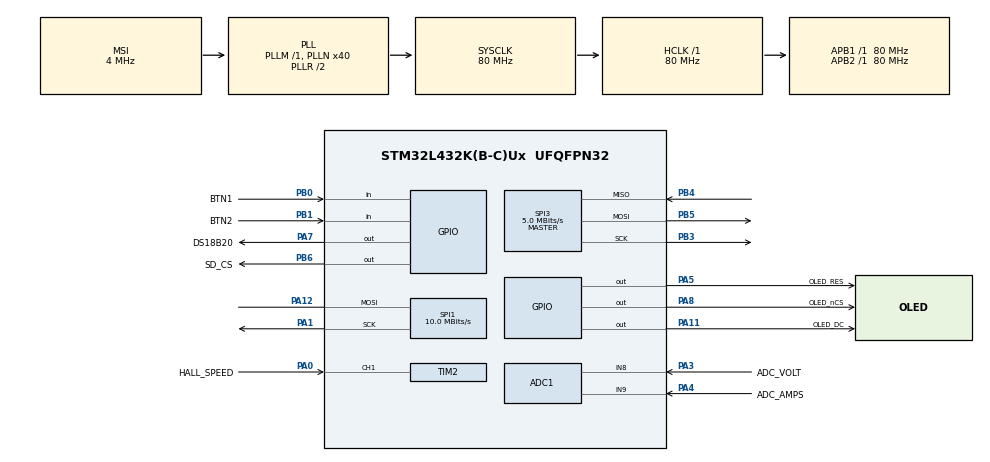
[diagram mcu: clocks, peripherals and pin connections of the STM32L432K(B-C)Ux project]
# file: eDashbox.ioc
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PA11.GPIO_Speed=GPIO_SPEED_FREQ_MEDIUM
Mcu.Family=STM32L4
FATFS._NORTC_MDAY=1
VP_SYS_VS_tim6.Mode=TIM6
RCC.CortexFreq_Value=80000000
SPI3.Direction=SPI_DIRECTION_2LINES
SPI3.VirtualType=VM_MASTER
TIM2.Channel-Input_Capture1_from_TI1=TIM_CHANNEL_1
FATFS._USE_LFN=3
SPI1.VirtualType=VM_MASTER
ADC1.Overrun=ADC_OVR_DATA_OVERWRITTEN
ADC1.ContinuousConvMode=DISABLE
NVIC.TIM6_DAC_IRQn=true\:0\:0\:false\:false\:true\:false\:false\:true
SPI3.NSSPMode=SPI_NSS_PULSE_DISABLE
PA0.GPIO_Label=HALL_SPEED
VP_RTC_VS_RTC_Activate.Mode=RTC_Enabled
PB0.GPIO_Label=BTN1
PB6.GPIO_Label=SD_CS
PA15\ (JTDI).Signal=USART2_RX
FATFS._NORTC_YEAR=2021
RCC.SYSCLKSource=RCC_SYSCLKSOURCE_PLLCLK
ProjectManager.StackSize=0x800
PB3\ (JTDO-TRACESWO).Signal=SPI3_SCK
VP_FREERTOS_VS_CMSIS_V2.Mode=CMSIS_V2
PA14\ (JTCK-SWCLK).Signal=SYS_JTCK-SWCLK
FREERTOS.configENABLE_FPU=0
PA12.Signal=SPI1_MOSI
TIM1.Prescaler=40
SPI1.CLKPolarity=SPI_POLARITY_LOW
TIM2.ICPolarity_CH1=TIM_INPUTCHANNELPOLARITY_FALLING
TIM2.ICPrescaler-Input_Capture1_from_TI1=TIM_ICPSC_DIV1
SPI1.Direction=SPI_DIRECTION_1LINE
PB1.GPIO_PuPd=GPIO_PULLDOWN
RCC.HCLKFreq_Value=80000000
RCC.APB2TimFreq_Value=80000000
PB6.Signal=GPIO_Output
Dma.ADC1.0.Direction=DMA_PERIPH_TO_MEMORY
SPI1.CalculateBaudRate=10.0 MBits/s
FREERTOS.configUSE_MALLOC_FAILED_HOOK=0
FREERTOS.configMINIMAL_STACK_SIZE=256
Dma.ADC1.0.MemDataAlignment=DMA_MDATAALIGN_WORD
FATFS._LFN_UNICODE=1
RCC.AHBFreq_Value=80000000
SPI3.DataSize=SPI_DATASIZE_8BIT
ADC1.Channel-0\#ChannelRegularConversion=ADC_CHANNEL_8
RCC.HSE_VALUE=8000000
RTC.Minutes=59
RCC.PLLMUL=RCC_PLLMUL_4
RTC.Month=RTC_MONTH_FEBRUARY
PB1.GPIO_Label=BTN2
Dma.ADC1.0.PeriphInc=DMA_PINC_DISABLE
PB5.Mode=Full_Duplex_Master
NVIC.TIM2_IRQn=true\:5\:0\:true\:true\:true\:1\:true\:true\:true
SPI1.DataSize=SPI_DATASIZE_8BIT
SH.ADCx_IN8.0=ADC1_IN8,IN8-Single-Ended
FATFS._NORTC_MON=1
PA8.Signal=GPIO_Output
VP_TIM1_VS_ClockSourceINT.Mode=Internal
ADC1.SamplingTime-0\#ChannelRegularConversion=ADC_SAMPLETIME_24CYCLES_5
FREERTOS.configTOTAL_HEAP_SIZE=8192
PA0.Signal=S_TIM2_CH1
Mcu.Package=UFQFPN32
TIM2.Prescaler=0
PB1.Signal=GPIO_Input
NVIC.TimeBase=TIM6_DAC_IRQn
SPI3.Mode=SPI_MODE_MASTER
PA2.GPIO_Label=VCP_TX
NVIC.TimeBaseIP=TIM6
VP_RTC_VS_RTC_Calendar.Mode=RTC_Calendar
ADC1.OffsetNumber-1\#ChannelRegularConversion=ADC_OFFSET_NONE
SH.ADCx_IN9.0=ADC1_IN9,IN9-Single-Ended
RCC.APB1TimFreq_Value=80000000
PA13\ (JTMS-SWDIO).Signal=SYS_JTMS-SWDIO
Dma.Request0=ADC1
SPI1.BaudRatePrescaler=SPI_BAUDRATEPRESCALER_8
PA4.GPIO_Label=ADC_AMPS
PA8.GPIO_Speed=GPIO_SPEED_FREQ_MEDIUM
RCC.HSI48_VALUE=48000000
RCC.PLLSAI1N=16
PA3.Signal=ADCx_IN8
RCC.MSI_VALUE=4000000
PA14\ (JTCK-SWCLK).Mode=Serial_Wire
SH.S_TIM2_CH1.0=TIM2_CH1,Input_Capture1_from_TI1
Dma.ADC1.0.Instance=DMA1_Channel1
FREERTOS.Tasks01=defaultTask,24,256,StartDefaultTask,Default,NULL,Dynamic,NULL,NULL
ADC1.Rank-0\#ChannelRegularConversion=1
ADC1.OffsetNumber-0\#ChannelRegularConversion=ADC_OFFSET_NONE
FREERTOS.configCHECK_FOR_STACK_OVERFLOW=1
PA11.GPIO_Label=OLED_DC
SPI1.CLKPhase=SPI_PHASE_1EDGE
PA14\ (JTCK-SWCLK).GPIO_Label=SWCLK
PA0.GPIO_Speed=GPIO_SPEED_FREQ_MEDIUM
RCC.HSI16_VALUE=16000000
Dma.ADC1.0.PeriphDataAlignment=DMA_PDATAALIGN_WORD
PA8.GPIO_Label=OLED_nCS
ProjectManager.TargetToolchain=Makefile
Dma.ADC1.0.Mode=DMA_CIRCULAR
FATFS._CODE_PAGE=866
Dma.ADC1.0.Priority=DMA_PRIORITY_LOW
ADC1.Channel-1\#ChannelRegularConversion=ADC_CHANNEL_9
RTC.Format=RTC_FORMAT_BIN
RCC.USBFreq_Value=32000000
RCC.LSE_VALUE=32768
PA1.Signal=SPI1_SCK
VP_FATFS_VS_Generic.Mode=User_defined
PA5.Signal=GPIO_Output
FATFS._STRF_ENCODE=3
board=NUCLEO-L432KC
RCC.VCOOutputFreq_Value=160000000
FATFS._FS_NORTC=1
RCC.APB2Freq_Value=80000000
PA1.Mode=Simplex_Bidirectional_Master
SPI3.CalculateBaudRate=5.0 MBits/s
PA13\ (JTMS-SWDIO).GPIO_Label=SWDIO
VP_TIM2_VS_ClockSourceINT.Mode=Internal
SPI1.Mode=SPI_MODE_MASTER
PB3\ (JTDO-TRACESWO).Mode=Full_Duplex_Master
RCC.ADCFreq_Value=32000000
SPI3.BaudRatePrescaler=SPI_BAUDRATEPRESCALER_16
TIM2.Period=80000
PB4\ (NJTRST).Mode=Full_Duplex_Master
ADC1.NbrOfConversion=2
PA15\ (JTDI).GPIO_Label=VCP_RX
Mcu.Name=STM32L432K(B-C)Ux
SPI1.NSSPMode=SPI_NSS_PULSE_DISABLE
PA2.Signal=USART2_TX
FATFS._MAX_SS=4096
PA13\ (JTMS-SWDIO).Mode=Serial_Wire
PA4.Signal=ADCx_IN9
ADC1.SamplingTime-1\#ChannelRegularConversion=ADC_SAMPLETIME_24CYCLES_5
RCC.SYSCLKFreq_VALUE=80000000
RTC.Hours=1
PB5.Signal=SPI3_MOSI
PA7.GPIO_Label=DS18B20
ADC1.master=1
PA12.Mode=Simplex_Bidirectional_Master
PA5.GPIO_Label=OLED_RES
ADC1.Rank-1\#ChannelRegularConversion=2
PA11.Signal=GPIO_Output
Dma.ADC1.0.MemInc=DMA_MINC_ENABLE
ProjectManager.HeapSize=0x400
RCC.HSI_VALUE=16000000
PA5.GPIO_Speed=GPIO_SPEED_FREQ_MEDIUM
NVIC.PriorityGroup=NVIC_PRIORITYGROUP_4
ADC1.NbrOfConversionFlag=1
RCC.PLLN=40
TIM2.AutoReloadPreload=TIM_AUTORELOAD_PRELOAD_ENABLE
NVIC.DMA1_Channel1_IRQn=true\:5\:0\:false\:false\:true\:true\:false\:true
PB6.GPIO_Speed=GPIO_SPEED_FREQ_MEDIUM
RTC.Seconds=30
RCC.APB1Freq_Value=80000000
PB0.Signal=GPIO_Input
RTC.Date=24
PB0.GPIO_PuPd=GPIO_PULLDOWN
PA3.GPIO_Label=ADC_VOLT
PA7.Signal=GPIO_Output
PB4\ (NJTRST).Signal=SPI3_MISO

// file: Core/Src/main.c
/* USER CODE BEGIN Header */
/**
  ******************************************************************************
  * @file           : main.c
  * @brief          : Main program body
  ******************************************************************************
  * @attention
  *
  * <h2><center>&copy; Copyright (c) 2021 STMicroelectronics.
  * All rights reserved.</center></h2>
  *
  * This software component is licensed by ST under BSD 3-Clause license,
  * the "License"; You may not use this file except in compliance with the
  * License. You may obtain a copy of the License at:
  *                        opensource.org/licenses/BSD-3-Clause
  *
  ******************************************************************************
  */
/* USER CODE END Header */
#include "main.h"
#include "cmsis_os.h"
#include "adc.h"
#include "dma.h"
#include "fatfs.h"
#include "rtc.h"
#include "spi.h"
#include "tim.h"
#include "gpio.h"

/* USER CODE BEGIN Includes */
/* <<<< System >>>> */
#include <string.h>
#include "stm32l4xx_hal.h"

/* https://github.com/mpaland/printf
   Tiny printf for embedded systems. Stdlib sprintf corrupts the stack if used
   inside of FreeRTOS vTask */
#include "printf.h"

//#include <stdio.h> // sprintf()
//#include "stdlib.h" // itoa(), gcvt()
//#include "string.h" // strcpy(), memset()

/* <<<< FreeRTOS >>>> */
#include "FreeRTOS.h"
#include <task.h>
#include <timers.h>

/* <<<< GUI >>>> */
#include "screens.h"
#include "settings.h"
/* USER CODE END Includes */

/* USER CODE BEGIN PV */
SensorsDataT Sensors;

static uint32_t gu32_SysTickFreq;
static uint32_t gu32_SysTickPrev;

static float gf_RpmFactor;
/* USER CODE END PV */

void SystemClock_Config(void);
void MX_FREERTOS_Init(void);
static void MX_NVIC_Init(void);

/* USER CODE BEGIN 0 */
void *malloc(size_t xBytes)
{
    return pvPortMalloc(xBytes);
}

void free(void *pvBuffer)
{
    vPortFree(pvBuffer);
}
/* USER CODE END 0 */

int main(void)
{
  /* USER CODE BEGIN 1 */
    // Must be read from Config.ini on MicroSD card or EEPROM
    Config.TempUnits = UnitsCelsius;
    Config.SpeedUnits = UnitsKph;
    Config.ShowLogo = true;
    Config.WheelCirc = 1285;
    Config.GearRatio = 6.0;
    Config.MaxRpm = 4500;
    Config.Screen1 = IdScreenMain;
    Config.BatLowV = 57.0;
    Config.BatHighV = 84.0;
    Config.HourFormat24 = true;
    Config.StandByTimeout = 15;

    Sensors.HallRpm = 0.0;
    Sensors.Volt = 0.0;
    Sensors.Ampere = 0.0;
    Sensors.Odo = 24589.7;
    memset(Sensors.Temperature, 0.0, sizeof(Sensors.Temperature));
  /* USER CODE END 1 */

  /* MCU Configuration--------------------------------------------------------*/

  /* Reset of all peripherals, Initializes the Flash interface and the Systick. */
  HAL_Init();

  /* Configure the system clock */
  SystemClock_Config();

  /* Initialize all configured peripherals */
  MX_GPIO_Init();
  MX_DMA_Init();
  MX_TIM2_Init();
  MX_SPI1_Init();
  MX_SPI3_Init();
  MX_ADC1_Init();
  MX_RTC_Init();
  MX_FATFS_Init();
  MX_TIM1_Init();

  /* Initialize interrupts */
  MX_NVIC_Init();
  /* USER CODE BEGIN 2 */
    /* Calibrate The ADC On Power-Up For Better Accuracy */
    HAL_ADCEx_Calibration_Start(&hadc1, ADC_SINGLE_ENDED);

    DS18B20_Init(DS18B20_Resolution_12bits);

    gu32_SysTickPrev = 0;
    /* This must be called _AFTER_ SystemClock_Config() for correct frequency value */
    gu32_SysTickFreq = osKernelGetSysTimerFreq();
    gf_RpmFactor = 60.0 * (float)gu32_SysTickFreq;
  /* USER CODE END 2 */

  /* Init scheduler */
  osKernelInitialize();  /* Call init function for freertos objects (in freertos.c) */
  MX_FREERTOS_Init();
  /* Start scheduler */
  osKernelStart();

  /* We should never get here as control is now taken by the scheduler */
  /* Infinite loop */
    for( ; ; )
    {

    /* USER CODE BEGIN 3 */
        continue;
    }
  /* USER CODE END 3 */
}

void SystemClock_Config(void)
{
  RCC_OscInitTypeDef RCC_OscInitStruct = {0};
  RCC_ClkInitTypeDef RCC_ClkInitStruct = {0};
  RCC_PeriphCLKInitTypeDef PeriphClkInit = {0};

  /** Initializes the RCC Oscillators according to the specified parameters
  * in the RCC_OscInitTypeDef structure.
  */
  RCC_OscInitStruct.OscillatorType = RCC_OSCILLATORTYPE_LSI|RCC_OSCILLATORTYPE_MSI;
  RCC_OscInitStruct.LSIState = RCC_LSI_ON;
  RCC_OscInitStruct.MSIState = RCC_MSI_ON;
  RCC_OscInitStruct.MSICalibrationValue = 0;
  RCC_OscInitStruct.MSIClockRange = RCC_MSIRANGE_6;
  RCC_OscInitStruct.PLL.PLLState = RCC_PLL_ON;
  RCC_OscInitStruct.PLL.PLLSource = RCC_PLLSOURCE_MSI;
  RCC_OscInitStruct.PLL.PLLM = 1;
  RCC_OscInitStruct.PLL.PLLN = 40;
  RCC_OscInitStruct.PLL.PLLP = RCC_PLLP_DIV7;
  RCC_OscInitStruct.PLL.PLLQ = RCC_PLLQ_DIV2;
  RCC_OscInitStruct.PLL.PLLR = RCC_PLLR_DIV2;
  if (HAL_RCC_OscConfig(&RCC_OscInitStruct) != HAL_OK)
  {
    Error_Handler();
  }
  /** Initializes the CPU, AHB and APB buses clocks
  */
  RCC_ClkInitStruct.ClockType = RCC_CLOCKTYPE_HCLK|RCC_CLOCKTYPE_SYSCLK
                              |RCC_CLOCKTYPE_PCLK1|RCC_CLOCKTYPE_PCLK2;
  RCC_ClkInitStruct.SYSCLKSource = RCC_SYSCLKSOURCE_PLLCLK;
  RCC_ClkInitStruct.AHBCLKDivider = RCC_SYSCLK_DIV1;
  RCC_ClkInitStruct.APB1CLKDivider = RCC_HCLK_DIV1;
  RCC_ClkInitStruct.APB2CLKDivider = RCC_HCLK_DIV1;

  if (HAL_RCC_ClockConfig(&RCC_ClkInitStruct, FLASH_LATENCY_4) != HAL_OK)
  {
    Error_Handler();
  }
  PeriphClkInit.PeriphClockSelection = RCC_PERIPHCLK_RTC|RCC_PERIPHCLK_ADC;
  PeriphClkInit.AdcClockSelection = RCC_ADCCLKSOURCE_PLLSAI1;
  PeriphClkInit.RTCClockSelection = RCC_RTCCLKSOURCE_LSI;
  PeriphClkInit.PLLSAI1.PLLSAI1Source = RCC_PLLSOURCE_MSI;
  PeriphClkInit.PLLSAI1.PLLSAI1M = 1;
  PeriphClkInit.PLLSAI1.PLLSAI1N = 16;
  PeriphClkInit.PLLSAI1.PLLSAI1P = RCC_PLLP_DIV7;
  PeriphClkInit.PLLSAI1.PLLSAI1Q = RCC_PLLQ_DIV2;
  PeriphClkInit.PLLSAI1.PLLSAI1R = RCC_PLLR_DIV2;
  PeriphClkInit.PLLSAI1.PLLSAI1ClockOut = RCC_PLLSAI1_ADC1CLK;
  if (HAL_RCCEx_PeriphCLKConfig(&PeriphClkInit) != HAL_OK)
  {
    Error_Handler();
  }
  /** Configure the main internal regulator output voltage
  */
  if (HAL_PWREx_ControlVoltageScaling(PWR_REGULATOR_VOLTAGE_SCALE1) != HAL_OK)
  {
    Error_Handler();
  }
}

/**
  * @brief NVIC Configuration.
  * @retval None
  */
static void MX_NVIC_Init(void)
{
  /* TIM2_IRQn interrupt configuration */
  HAL_NVIC_SetPriority(TIM2_IRQn, 5, 0);
  HAL_NVIC_EnableIRQ(TIM2_IRQn);
}

/* USER CODE BEGIN 4 */
/*
 * Callbacks for Interupts
 */
void HAL_TIM_IC_CaptureCallback(TIM_HandleTypeDef *htim)
{
    if(htim->Instance == TIM2)
    {
        uint32_t Tick = osKernelGetSysTimerCount();
        float Odo = (float)Config.WheelCirc / 1000000.0;

        if(!Config.HallOnWheel)
            { Odo /= Config.GearRatio; }

        Sensors.Odo = (Sensors.Odo < ODOMETER_MAX) ? (Sensors.Odo + Odo) : 0.0;
        Sensors.HallRpm = gf_RpmFactor / (float)(Tick - gu32_SysTickPrev);

        gu32_SysTickPrev = Tick;
    }
}
/* USER CODE END 4 */

 /**
  * @brief  Period elapsed callback in non blocking mode
  * @note   This function is called  when TIM6 interrupt took place, inside
  * HAL_TIM_IRQHandler(). It makes a direct call to HAL_IncTick() to increment
  * a global variable "uwTick" used as application time base.
  * @param  htim : TIM handle
  * @retval None
  */
void HAL_TIM_PeriodElapsedCallback(TIM_HandleTypeDef *htim)
{
  if (htim->Instance == TIM6) {
    HAL_IncTick();
  }
  /* USER CODE BEGIN Callback 1 */
    else if(htim->Instance == TIM2) {
        uint32_t Tick = osKernelGetSysTimerCount();

        /* Reset and idle if no input data */
        if(Sensors.HallRpm > 0.0
            && ((float)(Tick - gu32_SysTickPrev) / (float)gu32_SysTickFreq) > RPM_IDLE_TIME)
        {
            Sensors.HallRpm = 0.0;
        }
    }
  /* USER CODE END Callback 1 */
}

void Error_Handler(void)
{
  __disable_irq();
  while (1)
  {
  }
}

#ifdef  USE_FULL_ASSERT
/**
  * @brief  Reports the name of the source file and the source line number
  *         where the assert_param error has occurred.
  * @param  file: pointer to the source file name
  * @param  line: assert_param error line source number
  * @retval None
  */
void assert_failed(uint8_t *file, uint32_t line)
{
  /* USER CODE BEGIN 6 */
  /* User can add his own implementation to report the file name and line number,
     ex: printf("Wrong parameters value: file %s on line %d\r\n", file, line) */
    debug_printf("Assert failed at: %s line %u\n", file, line);
  /* USER CODE END 6 */
}
#endif /* USE_FULL_ASSERT */

/************************ (C) COPYRIGHT STMicroelectronics *****END OF FILE****/

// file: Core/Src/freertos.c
/* USER CODE BEGIN Header */
/**
  ******************************************************************************
  * File Name          : freertos.c
  * Description        : Code for freertos applications
  ******************************************************************************
  * @attention
  *
  * <h2><center>&copy; Copyright (c) 2021 STMicroelectronics.
  * All rights reserved.</center></h2>
  *
  * This software component is licensed by ST under Ultimate Liberty license
  * SLA0044, the "License"; You may not use this file except in compliance with
  * the License. You may obtain a copy of the License at:
  *                             www.st.com/SLA0044
  *
  ******************************************************************************
  */
/* USER CODE END Header */

#include "FreeRTOS.h"
#include "task.h"
#include "main.h"
#include "cmsis_os.h"

/* USER CODE BEGIN Includes */
//#include "cmsis_os2.h"
#include "tim.h"
#include "adc.h"
#include "stdbool.h"
#include "rtos.h"

#include "printf.h"
#include "ds18b20.h"

#include "screens.h"
#include "settings.h"
#include "bitmaps.h"

/* USER CODE END Includes */

/* USER CODE BEGIN PTD */
typedef struct
{
    BtnEventCallbackT Callback;
    void *Params;
} BtnEvtCallbackT;
/* USER CODE END PTD */

/* USER CODE BEGIN PD */
#define ADC_POLL_DELAY 250U
#define ADC_NCHANNELS 2
#define ADC_CHANNEL_VOLT 0
#define ADC_CHANNEL_AMPS 1
#define ADC_VREF 3.3
#define ADC_12BIT_MAX 4095U

#define MAIN_THREAD_DELAY 50U
#define DS18B20_POLL_DELAY 600U

#define BTN_POLL_DELAY 80U // debounce
#define BTN_LONGPRESS_TIME 1000U // hold at least this time before release
/* USER CODE END PD */

/* USER CODE BEGIN Variables */
static osThreadId_t TempPollTask;
static osThreadId_t AdcPollTask;
static osThreadId_t BtnPollTask;

/* Use static allocation as pointers are randomly being corrupted if
 * dynamic allocation is used without malloc()
 */
static BtnEvtCallbackT BtnCallbacks[NUM_BUTTONS][EvtButtonEmpty];
/* USER CODE END Variables */
/* Definitions for defaultTask */
osThreadId_t defaultTaskHandle;
const osThreadAttr_t defaultTask_attributes = {
  .name = "defaultTask",
  .priority = (osPriority_t) osPriorityNormal,
  .stack_size = 256 * 4
};

/* USER CODE BEGIN FunctionPrototypes */
__NO_RETURN static void TemperaturePoll(void *);
__NO_RETURN static void AdcPoll(void *);
__NO_RETURN static void ButtonsPoll(void *);
/* USER CODE END FunctionPrototypes */

void StartDefaultTask(void *argument);

void MX_FREERTOS_Init(void); /* (MISRA C 2004 rule 8.1) */

/* Hook prototypes */
void vApplicationStackOverflowHook(xTaskHandle xTask, signed char *pcTaskName);

/* USER CODE BEGIN 4 */
/* "Stack overflow checking introduces a context switch overhead so its use is only
 * recommended during the development or testing phases." Further reading:
 * https://www.freertos.org/Stacks-and-stack-overflow-checking.html
 */
void vApplicationStackOverflowHook(xTaskHandle xTask, signed char *pcTaskName)
{
   /* Run time stack overflow checking is performed if
   configCHECK_FOR_STACK_OVERFLOW is defined to 1 or 2. This hook function is
   called if a stack overflow is detected. */
   debug_printf("Stack overflow: %s\n", pcTaskName);
}
/* USER CODE END 4 */

void MX_FREERTOS_Init(void) {
  /* USER CODE BEGIN Init */
    for(uint8_t i = 0; i < NUM_BUTTONS; i++)
    {
        for(uint8_t j = 0; j < EvtButtonEmpty; j++)
        {
            BtnCallbacks[i][j] = (BtnEvtCallbackT){ NULL, NULL };
        }
    }
  /* USER CODE END Init */

  /* Create the thread(s) */
  /* creation of defaultTask */
  defaultTaskHandle = osThreadNew(StartDefaultTask, NULL, &defaultTask_attributes);

}

void StartDefaultTask(void *argument)
{
  /* USER CODE BEGIN StartDefaultTask */
    /* Hall sensor timer starts after scheduler as we use RTOS API from ISR.
     * Enable HAL_TIM_PeriodElapsedCallback() before HAL_TIM_IC_Start_IT()
     * as it's not activated by default. Further reading:
     * https://community.st.com/s/question/0D50X00009hpBdlSAE/timer3-update-event-interrupt-not-working-properly
     */
    __HAL_TIM_ENABLE_IT(&htim2, TIM_IT_UPDATE);
    HAL_TIM_IC_Start_IT(&htim2, TIM_CHANNEL_1);

    Screens_Init();

    if(Config.ShowLogo)
    {
        omGui_DrawBitmap(&oledUi, &AssetBitmaps.Logo, 4, 4, false, true);
        omGui_DrawBitmap(&oledUi, &AssetBitmaps.LogoText1, 69, 30, false, true);
        omGui_DrawBitmap(&oledUi, &AssetBitmaps.LogoText2, 92, 9, false, true);
        osDelay(1200);
    }

    Sensors.StandByTimeoutTick = osKernelGetTickCount();

    TempPollTask = appCreateTask(TemperaturePoll, NULL, TASK_NAME("TemperaturePoll"));
    AdcPollTask = appCreateTask(AdcPoll, NULL, TASK_NAME("AdcPoll"));
    BtnPollTask = appCreateTask(ButtonsPoll, NULL, TASK_NAME("ButtonsPoll"));

    omScreen_Select(uiScreens[
        (Config.Screen1 >= 0 && Config.Screen1 < 4) ? Config.Screen1 : IdScreenMain], NULL);

    do {
        omScreen_Update(&oledUi);

        // if(osKernelGetTickCount() - Sensors.TimeoutTick > Config.StandByTimeout * 60 * 1000)
        // {
        //     // StandBy mode on!
        // }
    } while(osDelay(MAIN_THREAD_DELAY) == osOK); // fixed fps

    debug_printf("Error: exiting main thread!\n");
    osThreadExit();
  /* USER CODE END StartDefaultTask */
}

/* USER CODE BEGIN Application */

/* (!) Increase FreeRTOS TOTAL_HEAP_SIZE if new task creation fails with osThreadError.
 * Further reading: https://stackoverflow.com/questions/40054233/i-can-not-create-more-than-5-tasks-in-freertos
 * (!) Increase FreeRTOS MINIMAL_STACK_SIZE if stack overflow occurs in tasks.
 * Working settings so far:
 * ( FreeRTOS )
 *     TOTAL_HEAP_SIZE = 8192
 *     MINIMAL_STACK_SIZE = 256
 * ( CubeMX )
 *     Max heap size: 0x400
 *     Max stack size: 0x800
 *
 * (!) Don't forget to disable stack overflow detection in CubeMX for release (!)
 */

osThreadId_t appCreateTask(osThreadFunc_t func, void *args, osThreadAttr_t *attr)
{
    char *error;
    osThreadId_t tid = osThreadNew(func, args, attr);

    if(tid == NULL)
    {
        osThreadState_t state = osThreadGetState(tid);

        switch(state)
        {
            case osThreadInactive:   error = "Inactive"; break;
            case osThreadReady:      error = "Ready"; break;
            case osThreadRunning:    error = "Running"; break;
            case osThreadBlocked:    error = "Blocked"; break;
            case osThreadTerminated: error = "Terminated"; break;
            case osThreadError:      error = "Error"; break;
            default:                 error = "Unexpected";
        }

        debug_printf("Thread '%s' creation failed: %s\n", attr->name, error);
    }

    return tid;
}

__NO_RETURN static void TemperaturePoll(void *params)
{
    do {
        // uint8_t ROM_tmp[8];

        DS18B20_ReadAll();
        DS18B20_StartAll();

        for(uint8_t i = 0; i < DS18B20_Quantity(); i++)
        {
            if(DS18B20_GetTemperature(i, &Sensors.Temperature[i]));
            {
                // DS18B20_GetROM(i, ROM_tmp);
            }
        }
    } while(osDelay(DS18B20_POLL_DELAY) == osOK);

    osThreadExit();
}

__NO_RETURN static void AdcPoll(void *params)
{
    static uint32_t ADC_channels[ADC_NCHANNELS]; // 0 - Volt, 1 - Ampere
    static const double AdcFactor = (double)ADC_VREF / (double)(ADC_12BIT_MAX + 1);

    do {
        HAL_StatusTypeDef status = HAL_ADC_Start_DMA(&hadc1, ADC_channels, ADC_NCHANNELS);

        if(status == HAL_OK)
        {
            Sensors.Volt = (double)(ADC_channels[ADC_CHANNEL_VOLT] + 1) * AdcFactor;
            Sensors.Ampere = (double)(ADC_channels[ADC_CHANNEL_AMPS] + 1) * AdcFactor;

            HAL_ADC_Stop_DMA(&hadc1);
        }
        else
        {
            debug_printf("ADC status: %s\n", (status == HAL_BUSY) ? "BUSY" : "TIMEOUT|ERROR");
        }
    } while(osDelay(ADC_POLL_DELAY) == osOK);

    osThreadExit();
}

__NO_RETURN static void ButtonsPoll(void *params)
{
    static struct BtnState
    {
        uint32_t PressTick;
        bool IsIdle;
        bool IsEvent;
        GPIO_TypeDef *GPIOx;
        uint16_t Pin;
    } Btn[] =
    {
        0, true, false, BTN1_GPIO_Port, BTN1_Pin,
        0, true, false, BTN2_GPIO_Port, BTN2_Pin
    };

    void evtfire(uint8_t btn, BtnEventKindT evt)
    {
        BtnEvtCallbackT *evtcb = &BtnCallbacks[btn][evt];

        if(evtcb->Callback != NULL)
        {
            evtcb->Callback(btn, evt, evtcb->Params);
        }
    }

    do {
        uint32_t Tick = osKernelGetTickCount();

        /* Maximum 2^32 ticks (~49 days), counter resets. One press per 49 days is ignored, not a huge trade-off */
        if(Btn[0].PressTick > Tick || Btn[1].PressTick > Tick)
        {
            Btn[0].PressTick = Btn[1].PressTick = 0;
            Btn[0].IsIdle = Btn[1].IsIdle = true;
            Btn[0].IsEvent = Btn[1].IsEvent = false;
        }

        /* Detect and save buttons state */
        for(uint8_t i = 0; i < NUM_BUTTONS; i++)
        {
            if(HAL_GPIO_ReadPin(Btn[i].GPIOx, Btn[i].Pin)) // Press
            {
                /* Process only first press, skip multiple presses, debounce */
                if(Btn[i].IsIdle && !Btn[i].IsEvent)
                {
                    Btn[i].PressTick = Tick;
                    Btn[i].IsIdle = false;
                }
                else if(!Btn[i].IsIdle && !Btn[i].IsEvent && (Tick - Btn[i].PressTick) > BTN_LONGPRESS_TIME)
                {
                    evtfire(i, EvtButtonLongPress);
                    Btn[i].IsEvent = true;
                }
            }
            else if(!Btn[i].IsIdle) // Release
            {
                if(!Btn[i].IsEvent)
                {
                    evtfire(i, EvtButtonPress);
                }
                else
                {
                    Btn[i].IsEvent = false;
                }

                Btn[i].IsIdle = true;
            }
        }
    } while(osDelay(BTN_POLL_DELAY) == osOK);

    osThreadExit();
}

bool RegButtonEvent(IdButtonT Btn, BtnEventKindT EvtKind, BtnEventCallbackT EvtCallback, void *Params)
{
    if(EvtKind >= EvtButtonEmpty) { return false; }

    if(Btn >= NUM_BUTTONS) { Btn = NUM_BUTTONS - 1; }

    BtnCallbacks[Btn][EvtKind] =
    (BtnEvtCallbackT){
        .Callback = EvtCallback,
        .Params = Params
    };

    return true;
}

bool UnRegButtonEvent(IdButtonT Btn, BtnEventKindT EvtKind)
{
    if(EvtKind >= EvtButtonEmpty) { return false; }

    if(Btn >= NUM_BUTTONS) { Btn = NUM_BUTTONS - 1; }

    BtnCallbacks[Btn][EvtKind].Callback = NULL;
    BtnCallbacks[Btn][EvtKind].Params = NULL;

    return true;
}
/* USER CODE END Application */

/************************ (C) COPYRIGHT STMicroelectronics *****END OF FILE****/
